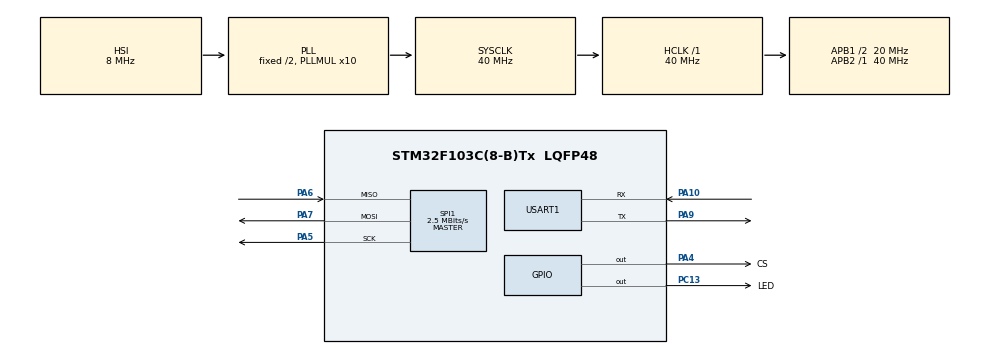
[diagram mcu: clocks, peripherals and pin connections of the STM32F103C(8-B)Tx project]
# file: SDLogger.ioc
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Dma.Request0=USART1_RX
Dma.Request1=USART1_TX
Dma.USART1_RX.0.Direction=DMA_PERIPH_TO_MEMORY
Dma.USART1_RX.0.Instance=DMA1_Channel5
Dma.USART1_RX.0.MemDataAlignment=DMA_MDATAALIGN_BYTE
Dma.USART1_RX.0.MemInc=DMA_MINC_ENABLE
Dma.USART1_RX.0.Mode=DMA_NORMAL
Dma.USART1_RX.0.PeriphDataAlignment=DMA_PDATAALIGN_BYTE
Dma.USART1_RX.0.PeriphInc=DMA_PINC_DISABLE
Dma.USART1_RX.0.Priority=DMA_PRIORITY_LOW
Dma.USART1_TX.1.Direction=DMA_MEMORY_TO_PERIPH
Dma.USART1_TX.1.Instance=DMA1_Channel4
Dma.USART1_TX.1.MemDataAlignment=DMA_MDATAALIGN_BYTE
Dma.USART1_TX.1.MemInc=DMA_MINC_ENABLE
Dma.USART1_TX.1.Mode=DMA_NORMAL
Dma.USART1_TX.1.PeriphDataAlignment=DMA_PDATAALIGN_BYTE
Dma.USART1_TX.1.PeriphInc=DMA_PINC_DISABLE
Dma.USART1_TX.1.Priority=DMA_PRIORITY_LOW
Mcu.Family=STM32F1
Mcu.Name=STM32F103C(8-B)Tx
Mcu.Package=LQFP48
NVIC.DMA1_Channel4_IRQn=true\:0\:0\:false\:false\:true\:false\:true
NVIC.DMA1_Channel5_IRQn=true\:0\:0\:false\:false\:true\:false\:true
NVIC.PriorityGroup=NVIC_PRIORITYGROUP_4
NVIC.TIM2_IRQn=true\:0\:0\:false\:false\:true\:true\:true
PA10.Mode=Asynchronous
PA10.Signal=USART1_RX
PA13.Mode=Serial_Wire
PA13.Signal=SYS_JTMS-SWDIO
PA14.Mode=Serial_Wire
PA14.Signal=SYS_JTCK-SWCLK
PA4.GPIO_Label=CS
PA4.Signal=GPIO_Output
PA5.Mode=Full_Duplex_Master
PA5.Signal=SPI1_SCK
PA6.Mode=Full_Duplex_Master
PA6.Signal=SPI1_MISO
PA7.Mode=Full_Duplex_Master
PA7.Signal=SPI1_MOSI
PA9.Mode=Asynchronous
PA9.Signal=USART1_TX
PC13-TAMPER-RTC.GPIO_Label=LED
PC13-TAMPER-RTC.PinState=GPIO_PIN_SET
PC13-TAMPER-RTC.Signal=GPIO_Output
ProjectManager.HeapSize=0x200
ProjectManager.StackSize=0x400
ProjectManager.TargetToolchain=STM32CubeIDE
RCC.AHBFreq_Value=40000000
RCC.APB1CLKDivider=RCC_HCLK_DIV2
RCC.APB1Freq_Value=20000000
RCC.APB1TimFreq_Value=40000000
RCC.APB2Freq_Value=40000000
RCC.APB2TimFreq_Value=40000000
RCC.HCLKFreq_Value=40000000
RCC.PLLMUL=RCC_PLL_MUL10
RCC.SYSCLKFreq_VALUE=40000000
RCC.SYSCLKSource=RCC_SYSCLKSOURCE_PLLCLK
RCC.USBFreq_Value=40000000
SPI1.BaudRatePrescaler=SPI_BAUDRATEPRESCALER_16
SPI1.CalculateBaudRate=2.5 MBits/s
SPI1.Direction=SPI_DIRECTION_2LINES
SPI1.Mode=SPI_MODE_MASTER
SPI1.VirtualType=VM_MASTER
TIM2.Period=1
TIM2.Prescaler=39999
USART1.VirtualMode=VM_ASYNC
VP_TIM2_VS_ClockSourceINT.Mode=Internal
board=custom

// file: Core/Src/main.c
/* USER CODE BEGIN Header */
/**
  ******************************************************************************
  * @file           : main.c
  * @brief          : Main program body
  ******************************************************************************
  * @attention
  *
  * <h2><center>&copy; Copyright (c) 2020 STMicroelectronics.
  * All rights reserved.</center></h2>
  *
  * This software component is licensed by ST under BSD 3-Clause license,
  * the "License"; You may not use this file except in compliance with the
  * License. You may obtain a copy of the License at:
  *                        opensource.org/licenses/BSD-3-Clause
  *
  ******************************************************************************
  */
/* USER CODE END Header */
#include "main.h"

SPI_HandleTypeDef hspi1;

TIM_HandleTypeDef htim2;

UART_HandleTypeDef huart1;
DMA_HandleTypeDef hdma_usart1_rx;
DMA_HandleTypeDef hdma_usart1_tx;

/* USER CODE BEGIN PV */

volatile uint16_t tim_counter = 0;

/* USER CODE END PV */

void SystemClock_Config(void);
static void MX_GPIO_Init(void);
static void MX_DMA_Init(void);
static void MX_USART1_UART_Init(void);
static void MX_TIM2_Init(void);
static void MX_SPI1_Init(void);

char    buff[] = "Hello";

int main(void)
{

  /* MCU Configuration--------------------------------------------------------*/

  /* Reset of all peripherals, Initializes the Flash interface and the Systick. */
  HAL_Init();

  /* Configure the system clock */
  SystemClock_Config();

  /* Initialize all configured peripherals */
  MX_GPIO_Init();
  MX_DMA_Init();
  MX_USART1_UART_Init();
  MX_TIM2_Init();
  MX_SPI1_Init();
  /* USER CODE BEGIN 2 */

  char buff2[512];
  char name[20];

  sprintf(name, "file %d.txt", 2);
  sprintf(buff2, "%s", name);

  HAL_TIM_Base_Start_IT( &htim2 );

  HAL_Delay(10);

  FRESULT result;

  FATFS FATFS_Obj;
  FIL file;
  UINT nRead, nWritten;

	 result = f_mount(&FATFS_Obj, "0", 1);
	 if (result != FR_OK)
	 {
		 uint8_t dermo = 0;
			// printf("Ошибка монтирования диска %d\r\n", result);
	 }else{
		 result = f_mount(&FATFS_Obj, "0", 1);
	 }

	 // создаем файл write.txt
	 result = f_open(&file, name, FA_CREATE_ALWAYS | FA_WRITE);
	 if (result == FR_OK)
	 {
		 result = f_write(&file, &buff2, sizeof(buff2), &nWritten);
		 f_close(&file);
	 }

	 if(result == FR_OK){
		 HAL_GPIO_WritePin(LED_GPIO_Port, LED_Pin, GPIO_PIN_RESET);
	 }

  /* USER CODE END 2 */

  /* Infinite loop */
  /* USER CODE BEGIN WHILE */
  while (1)
  {

//	  HAL_Delay(1);

//	  if( get_time() == 0 )
//	  {
//		  if( HAL_SPI_Transmit( Get_SPI_HandleTypeDef() , &data, 1, 1000) == HAL_OK){
//				  HAL_GPIO_TogglePin(LED_GPIO_Port, LED_Pin);
//			  }
//
//		  set_delay(100);
//	  }

    /* USER CODE END WHILE */

  }
}

void SystemClock_Config(void)
{
  RCC_OscInitTypeDef RCC_OscInitStruct = {0};
  RCC_ClkInitTypeDef RCC_ClkInitStruct = {0};

  /** Initializes the RCC Oscillators according to the specified parameters
  * in the RCC_OscInitTypeDef structure.
  */
  RCC_OscInitStruct.OscillatorType = RCC_OSCILLATORTYPE_HSI;
  RCC_OscInitStruct.HSIState = RCC_HSI_ON;
  RCC_OscInitStruct.HSICalibrationValue = RCC_HSICALIBRATION_DEFAULT;
  RCC_OscInitStruct.PLL.PLLState = RCC_PLL_ON;
  RCC_OscInitStruct.PLL.PLLSource = RCC_PLLSOURCE_HSI_DIV2;
  RCC_OscInitStruct.PLL.PLLMUL = RCC_PLL_MUL10;
  if (HAL_RCC_OscConfig(&RCC_OscInitStruct) != HAL_OK)
  {
    Error_Handler();
  }
  /** Initializes the CPU, AHB and APB buses clocks
  */
  RCC_ClkInitStruct.ClockType = RCC_CLOCKTYPE_HCLK|RCC_CLOCKTYPE_SYSCLK
                              |RCC_CLOCKTYPE_PCLK1|RCC_CLOCKTYPE_PCLK2;
  RCC_ClkInitStruct.SYSCLKSource = RCC_SYSCLKSOURCE_PLLCLK;
  RCC_ClkInitStruct.AHBCLKDivider = RCC_SYSCLK_DIV1;
  RCC_ClkInitStruct.APB1CLKDivider = RCC_HCLK_DIV2;
  RCC_ClkInitStruct.APB2CLKDivider = RCC_HCLK_DIV1;

  if (HAL_RCC_ClockConfig(&RCC_ClkInitStruct, FLASH_LATENCY_1) != HAL_OK)
  {
    Error_Handler();
  }
}

static void MX_SPI1_Init(void)
{

  /* SPI1 parameter configuration*/
  hspi1.Instance = SPI1;
  hspi1.Init.Mode = SPI_MODE_MASTER;
  hspi1.Init.Direction = SPI_DIRECTION_2LINES;
  hspi1.Init.DataSize = SPI_DATASIZE_8BIT;
  hspi1.Init.CLKPolarity = SPI_POLARITY_LOW;
  hspi1.Init.CLKPhase = SPI_PHASE_1EDGE;
  hspi1.Init.NSS = SPI_NSS_SOFT;
  hspi1.Init.BaudRatePrescaler = SPI_BAUDRATEPRESCALER_16;
  hspi1.Init.FirstBit = SPI_FIRSTBIT_MSB;
  hspi1.Init.TIMode = SPI_TIMODE_DISABLE;
  hspi1.Init.CRCCalculation = SPI_CRCCALCULATION_DISABLE;
  hspi1.Init.CRCPolynomial = 10;
  if (HAL_SPI_Init(&hspi1) != HAL_OK)
  {
    Error_Handler();
  }

}

static void MX_TIM2_Init(void)
{

  TIM_ClockConfigTypeDef sClockSourceConfig = {0};
  TIM_MasterConfigTypeDef sMasterConfig = {0};

  htim2.Instance = TIM2;
  htim2.Init.Prescaler = 39999;
  htim2.Init.CounterMode = TIM_COUNTERMODE_UP;
  htim2.Init.Period = 1;
  htim2.Init.ClockDivision = TIM_CLOCKDIVISION_DIV1;
  htim2.Init.AutoReloadPreload = TIM_AUTORELOAD_PRELOAD_DISABLE;
  if (HAL_TIM_Base_Init(&htim2) != HAL_OK)
  {
    Error_Handler();
  }
  sClockSourceConfig.ClockSource = TIM_CLOCKSOURCE_INTERNAL;
  if (HAL_TIM_ConfigClockSource(&htim2, &sClockSourceConfig) != HAL_OK)
  {
    Error_Handler();
  }
  sMasterConfig.MasterOutputTrigger = TIM_TRGO_RESET;
  sMasterConfig.MasterSlaveMode = TIM_MASTERSLAVEMODE_DISABLE;
  if (HAL_TIMEx_MasterConfigSynchronization(&htim2, &sMasterConfig) != HAL_OK)
  {
    Error_Handler();
  }

}

static void MX_USART1_UART_Init(void)
{

  huart1.Instance = USART1;
  huart1.Init.BaudRate = 115200;
  huart1.Init.WordLength = UART_WORDLENGTH_8B;
  huart1.Init.StopBits = UART_STOPBITS_1;
  huart1.Init.Parity = UART_PARITY_NONE;
  huart1.Init.Mode = UART_MODE_TX_RX;
  huart1.Init.HwFlowCtl = UART_HWCONTROL_NONE;
  huart1.Init.OverSampling = UART_OVERSAMPLING_16;
  if (HAL_UART_Init(&huart1) != HAL_OK)
  {
    Error_Handler();
  }

}

static void MX_DMA_Init(void)
{

  /* DMA controller clock enable */
  __HAL_RCC_DMA1_CLK_ENABLE();

  /* DMA interrupt init */
  /* DMA1_Channel4_IRQn interrupt configuration */
  HAL_NVIC_SetPriority(DMA1_Channel4_IRQn, 0, 0);
  HAL_NVIC_EnableIRQ(DMA1_Channel4_IRQn);
  /* DMA1_Channel5_IRQn interrupt configuration */
  HAL_NVIC_SetPriority(DMA1_Channel5_IRQn, 0, 0);
  HAL_NVIC_EnableIRQ(DMA1_Channel5_IRQn);

}

static void MX_GPIO_Init(void)
{
  GPIO_InitTypeDef GPIO_InitStruct = {0};

  /* GPIO Ports Clock Enable */
  __HAL_RCC_GPIOC_CLK_ENABLE();
  __HAL_RCC_GPIOA_CLK_ENABLE();

  /*Configure GPIO pin Output Level */
  HAL_GPIO_WritePin(LED_GPIO_Port, LED_Pin, GPIO_PIN_SET);

  /*Configure GPIO pin Output Level */
  HAL_GPIO_WritePin(CS_GPIO_Port, CS_Pin, GPIO_PIN_RESET);

  /*Configure GPIO pin : LED_Pin */
  GPIO_InitStruct.Pin = LED_Pin;
  GPIO_InitStruct.Mode = GPIO_MODE_OUTPUT_PP;
  GPIO_InitStruct.Pull = GPIO_NOPULL;
  GPIO_InitStruct.Speed = GPIO_SPEED_FREQ_LOW;
  HAL_GPIO_Init(LED_GPIO_Port, &GPIO_InitStruct);

  /*Configure GPIO pin : CS_Pin */
  GPIO_InitStruct.Pin = CS_Pin;
  GPIO_InitStruct.Mode = GPIO_MODE_OUTPUT_PP;
  GPIO_InitStruct.Pull = GPIO_NOPULL;
  GPIO_InitStruct.Speed = GPIO_SPEED_FREQ_LOW;
  HAL_GPIO_Init(CS_GPIO_Port, &GPIO_InitStruct);

}

/* USER CODE BEGIN 4 */

void HAL_TIM_PeriodElapsedCallback(TIM_HandleTypeDef *htim){
	if(htim == &htim2){
		tim_counter++;
		//TODO: Поправити таймер для періоду 1мс
		disk_timerproc();
	}

}

SPI_HandleTypeDef* Get_SPI_HandleTypeDef(){
	return &hspi1;
}

/* USER CODE END 4 */

void Error_Handler(void)
{
}

/************************ (C) COPYRIGHT STMicroelectronics *****END OF FILE****/
